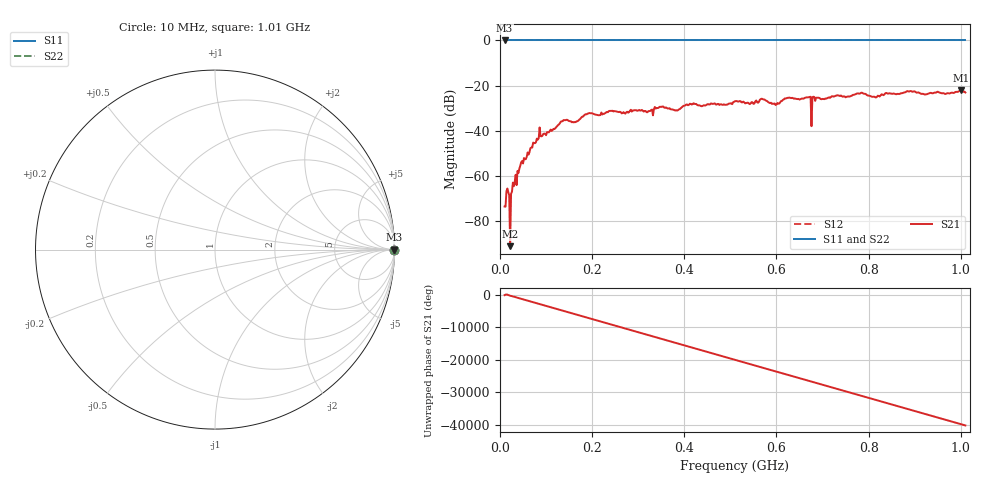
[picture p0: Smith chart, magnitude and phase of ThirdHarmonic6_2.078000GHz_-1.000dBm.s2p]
! 8/17/2025 12:53:13 AM
! C:\ANRITSUVNA\TEMP\TEMP.S2P
! CHANNEL.1
! TR.MEASUREMENT
! RAW.DATA
! RF.CORRECTION.OFF
! AVERAGING.OFF
! IF.BANDWIDTH: 5KHZ
! SWEEPTYPE:  FREQ.SWEEP(Linear)
! Reference Plane Port Info
! PORT:  PORT1  PORT2
! DISTANCE:  0  m  0  m
! TIME:  0  s  0  s
! PHASE.OFFSET:  0  deg.  0  deg.
! LOSS:  0  dB  0  dB
! REF.LOSS:  0  dB  0  dB
! REF.FREQ:  0  Hz  0  Hz
! Power Info
! POWER:  -20  dBm  -20  dBm
! EFF.POWER:  -20  dBm  -20  dBm
! SOURCE.ATTEN:  0  dB  0  dB
! TEST.ATTEN:  0  dB  0  dB
# GHZ S RI R 50.0
! FREQ.GHZ  S11RE  S11IM  S21RE  S21IM  S12RE  S12IM  S22RE  S22IM
!; PortSelection: Port_12
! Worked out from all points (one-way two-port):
!   501 points, 10 MHz to 1.01 GHz, reference 50 ohm
!   highest |S21| = -22.19 dB at 1 GHz (marker M1); lowest = -91.3 dB at 22 MHz (marker M2)
!   lowest |S11| = 0.0 dB at 10 MHz (marker M3)
!   |S11| at or under -10 dB: nowhere
!   |S22| runs from 0.0 to 0.0 dB; largest |S21 - S12| = 1.1
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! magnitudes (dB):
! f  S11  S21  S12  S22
! 10 MHz  0.0  -73.7  0.0  0.0
! 16 MHz  0.0  -65.7  0.0  0.0
! 22 MHz  0.0  -91.3  0.0  0.0
! 42 MHz  0.0  -56.9  0.0  0.0
! 84 MHz  0.0  -43.4  0.0  0.0
! 136 MHz  0.0  -35.8  0.0  0.0
! 164 MHz  0.0  -36.3  0.0  0.0
! 178 MHz  0.0  -33.9  0.0  0.0
! 344 MHz  0.0  -29.9  0.0  0.0
! 382 MHz  0.0  -30.9  0.0  0.0
! 416 MHz  0.0  -28.4  0.0  0.0
! 510 MHz  0.0  -26.9  0.0  0.0
! 570 MHz  0.0  -26.0  0.0  0.0
! 602 MHz  0.0  -27.7  0.0  0.0
! 622 MHz  0.0  -25.6  0.0  0.0
! 670 MHz  0.0  -25.2  0.0  0.0
! 672 MHz  0.0  -25.1  0.0  0.0
! 678 MHz  0.0  -25.1  0.0  0.0
! 682 MHz  0.0  -25.1  0.0  0.0
! 844 MHz  0.0  -23.5  0.0  0.0
! 1 GHz  0.0  -22.2  0.0  0.0
! 1.01 GHz  0.0  -23.1  0.0  0.0
